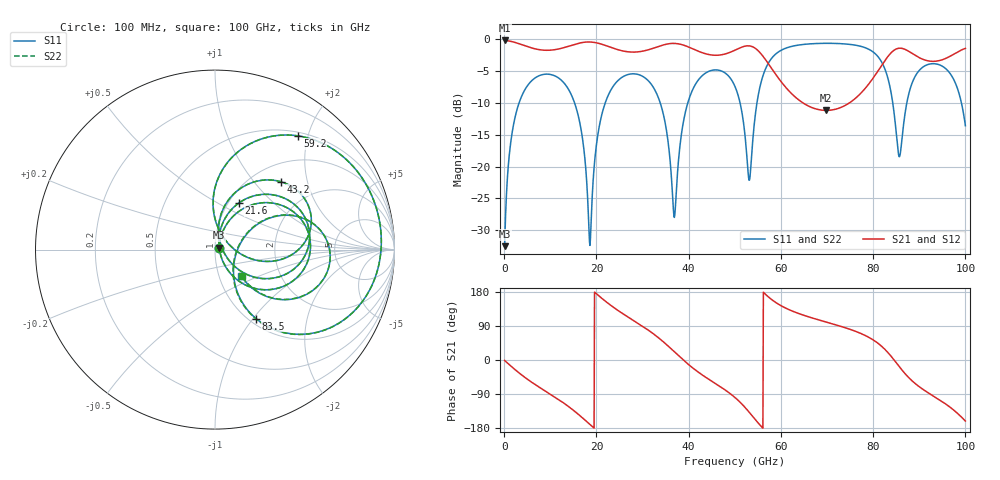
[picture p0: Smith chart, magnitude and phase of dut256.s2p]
! Touchstone file exported from HFSS 2026.1.0
!  File:  C:/ffzhzh/LocalFiles/Ansys_Project_Files/temp_train_TSV_RDL_256_1783672064_29156.aedt
!  Generated:  04:38:47 PM Jul 10, 2026
!  Design:  TSV_RDL
!  Project:  temp_train_TSV_RDL_256_1783672064_29156
! Variables:
!  h_bsmrdl = 3.49um
!  h_ox = 20um
!  h_rdl = 5um
!  h_sub = 60.1um
!  h_tmrdl = 3.31um
!  h_tsv = 60.1um
!  h_via = 3um
!  l_bsmrdl = 378.25um
!  l_sub = 3097.47um
!  l_tmrdl = 364.7um
!  m_sub = 200um
!  pitch = 41.3um
!  r_tsv = 6.9um
!  s_tmrdl = 10um
!  w_bsmrdl = 23.7um
!  w_sub = 500um
!  w_tmrdl = 10.94um
!  x_tsv_center1 = 370.17um
!  x_tsv_center2 = 772.12um
!  x_tsv_center3 = 1147.76um
!  x_tsv_center4 = 1549.71um
!  x_tsv_center5 = 1925.35um
!  x_tsv_center6 = 2327.3um
# GHz S MA R 50.000000
! Terminal data exported
! Port[1] = TM_RDL1_1_T1
! Port[2] = TM_RDL5_1_T1
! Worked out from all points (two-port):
!   1000 points, 100 MHz to 100 GHz, reference 50 ohm
!   highest |S21| = -0.18 dB at 100 MHz (marker M1); lowest = -11.2 dB at 69.8 GHz (marker M2)
!   |S21| within 3 dB of the highest: start of sweep to 56.65 GHz; 82.71 GHz to 90.93 GHz (8.218 GHz wide, 9.47 % of centre) (the widest 2 of 3)
!   lowest |S11| = -32.5 dB at 100 MHz (marker M3), VSWR 1.05, Z = 52.1 + j1.18 ohm
!   |S11| at or under -10 dB: 15.27 GHz to 21.91 GHz (6.638 GHz wide, 35.7 % of centre); 33.84 GHz to 39.81 GHz (5.97 GHz wide, 16.2 % of centre); 51.15 GHz to 54.81 GHz (3.656 GHz wide, 6.9 % of centre) (the widest 3 of 6)
!   |S22| runs from -32.5 to -0.6 dB; largest |S21 - S12| = 2.8e-13
!   S11 on the Smith chart (normalised r, x): 100 MHz: 1.04, +0.02; 21.6 GHz: 1.12, +0.63; 43.2 GHz: 1.33, +1.40; 59.2 GHz: 0.56, +1.83; 83.5 GHz: 1.08, -1.03; 100 GHz: 1.28, -0.40
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0.1  0.02374 28.5  0.9793 -1.1  0.9793 -1.1  0.02374 28.5
! Gamma 0 0 0 0
! Port Impedance 50 0 50 0
1.9  0.2011 62.3  0.9548 -20.6  0.9548 -20.6  0.2011 62.3
5.4  0.4489 33.0  0.8672 -53.8  0.8672 -53.8  0.4489 33.0
16.8  0.1842 -55.6  0.9414 -150.7  0.9414 -150.7  0.1842 -55.4
18.6  0.02407 11.2  0.9525 -170.0  0.9525 -170.0  0.02475 11.3
21.6  0.2919 62.9  0.9041 158.5  0.9041 158.5  0.2921 62.8
33.4  0.3506 -27.2  0.8769 59.3  0.8769 59.3  0.3506 -27.4
36.9  0.03993 21.4  0.9284 21.7  0.9284 21.7  0.03893 21.3
39.3  0.2684 76.1  0.8896 -4.9  0.8896 -4.9  0.2682 76.3
43.2  0.5278 45.7  0.7793 -41.5  0.7793 -41.5  0.5277 45.7
50.1  0.4215 -4.5  0.8237 -99.6  0.8237 -99.6  0.4214 -4.4
53.2  0.07844 45.3  0.8873 -138.8  0.8873 -138.8  0.07926 45.3
55.6  0.4444 84.8  0.7761 -173.4  0.7761 -173.4  0.4447 84.7
59.2  0.7835 54.0  0.5109 149.3  0.5109 149.3  0.7836 54.0
66.7  0.9229 19.6  0.2912 111.2  0.2912 111.2  0.9229 19.6
69.8  0.9301 9.7  0.2765 100.2  0.2765 100.2  0.9302 9.6
78  0.866 -20.3  0.4008 66.3  0.4008 66.3  0.866 -20.4
83.4  0.4631 -58.5  0.7481 17.0  0.7481 17.0  0.4625 -58.8
83.5  0.447 -59.2  0.7556 15.6  0.7556 15.6  0.4464 -59.6
85.7  0.1195 -13.5  0.8515 -18.1  0.8515 -18.1  0.1169 -13.4
89.1  0.5112 20.5  0.7485 -62.0  0.7485 -62.0  0.511 20.7
100  0.2097 -45.4  0.8482 -161.1  0.8482 -161.1  0.2106 -44.8
